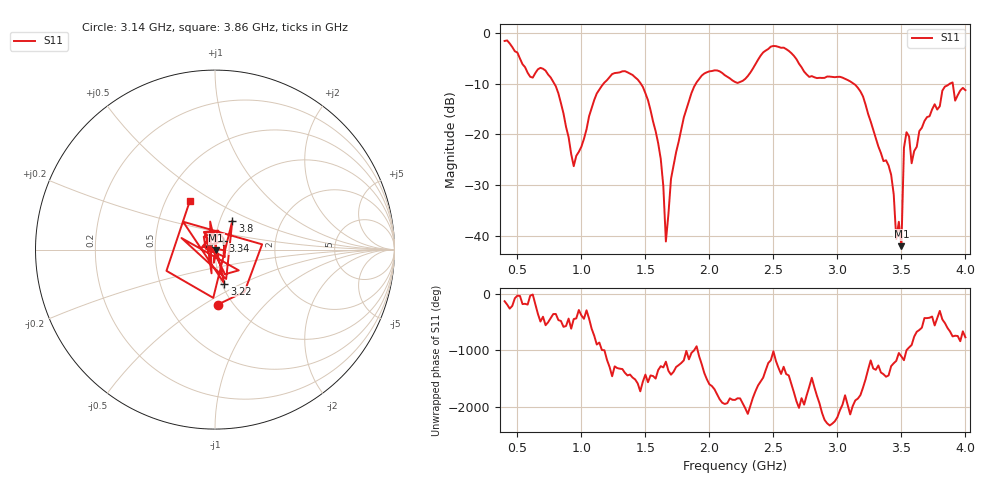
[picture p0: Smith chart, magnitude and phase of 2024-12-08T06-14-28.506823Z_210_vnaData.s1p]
!Created with skrf (http://scikit-rf.org).
# Hz S RI R 50.0
!freq ReS11 ImS11
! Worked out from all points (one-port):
!   181 points, 400 MHz to 4 GHz, reference 50 ohm
!   lowest |S11| = -42.1 dB at 3.5 GHz (marker M1), VSWR 1.02, Z = 50.7 - j0.378 ohm
!   |S11| at or under -10 dB: 787.2 MHz to 1.174 GHz (386.7 MHz wide, 39.4 % of centre); 1.463 GHz to 1.895 GHz (431.5 MHz wide, 25.7 % of centre); 3.125 GHz to 3.88 GHz (755 MHz wide, 21.6 % of centre) (the widest 3 of 4)
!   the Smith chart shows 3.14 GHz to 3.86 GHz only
!   S11 on the Smith chart (normalised r, x): 3.14 GHz: 0.85, -0.58; 3.22 GHz: 1.03, -0.40; 3.34 GHz: 1.09, +0.11; 3.8 GHz: 1.15, +0.38; 3.86 GHz: 0.66, +0.39
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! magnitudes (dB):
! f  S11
! 400 MHz  -1.6
! 720 MHz  -7.5
! 860 MHz  -15.9
! 940 MHz  -26.3
! 1.12 GHz  -12.0
! 1.3 GHz  -7.8
! 1.52 GHz  -13.3
! 1.62 GHz  -24.9
! 1.66 GHz  -41.2
! 1.7 GHz  -28.8
! 1.76 GHz  -21.5
! 1.94 GHz  -8.4
! 2.2 GHz  -9.7
! 2.66 GHz  -4.5
! 3.1 GHz  -9.6
! 3.14 GHz  -10.3
! 3.22 GHz  -14.2
! 3.34 GHz  -23.7
! 3.42 GHz  -28.0
! 3.46 GHz  -40.7
! 3.48 GHz  -37.3
! 3.5 GHz  -42.1
! 3.52 GHz  -22.7
! 3.56 GHz  -20.5
! 3.58 GHz  -25.7
! 3.8 GHz  -14.5
! 3.86 GHz  -10.4
! 4 GHz  -11.3
